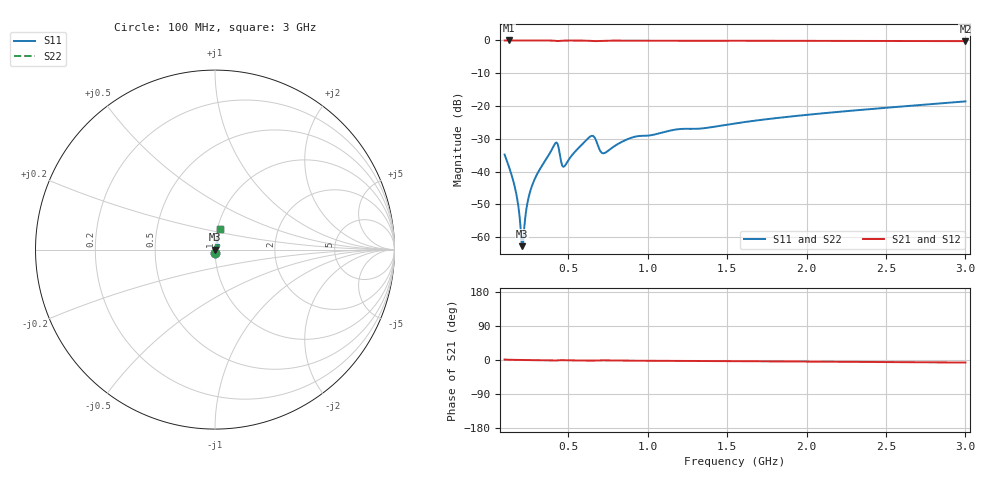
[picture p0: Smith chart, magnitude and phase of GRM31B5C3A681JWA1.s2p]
!Murata Part Number: GRM31B5C3A681JWA1
!These Parameters are Measured in Series Mode Connection
!Data Generated on Mar 30, 2021
!  o--ll--o
!Port1  Port2
!  o------o
!Operation Temp=25[degC], DC Bias Voltage=0[V]
!Freq. Start=100[MHz] Stop=3[GHz] 401[Steps]
# Hz S RI R 50
!Freq.(Hz) S11(Real) S11(Imag) S21(Real) S21(Imag) S12(Real) S12(Imag) S22(Real) S22(Imag)
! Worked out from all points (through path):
!   401 points, 100 MHz to 3 GHz, reference 50 ohm
!   highest |S21| = 0.00 dB at 129 MHz (marker M1); lowest = -0.2 dB at 3 GHz (marker M2)
!   lowest |S11| = -62.7 dB at 208.8 MHz (marker M3), VSWR 1.00, Z = 50.1 - j0.0362 ohm
!   |S11| at or under -10 dB: start of sweep to end of sweep
!   |S22| runs from -62.7 to -18.6 dB; largest |S21 - S12| = 0
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1e8  0.000685 -0.0182  0.9993 0.0182  0.9993 0.0182  0.000685 -0.0182
1.29e8  0.000554 -0.0115  0.9994 0.0115  0.9994 0.0115  0.000554 -0.0115
1.725e8  0.00055 -0.00468  0.9995 0.00468  0.9995 0.00468  0.00055 -0.00468
2.015e8  0.000612 -0.00116  0.9994 0.00116  0.9994 0.00116  0.000612 -0.00116
2.0875e8  0.000634 -0.000362  0.9994 0.000362  0.9994 0.000362  0.000634 -0.000362
2.2325e8  0.000686 0.00118  0.9993 -0.00118  0.9993 -0.00118  0.000686 0.00118
2.45e8  0.000785 0.00337  0.9992 -0.00337  0.9992 -0.00337  0.000785 0.00337
2.74e8  0.000965 0.00616  0.999 -0.00616  0.999 -0.00616  0.000965 0.00616
3.1025e8  0.00132 0.00964  0.9987 -0.00964  0.9987 -0.00964  0.00132 0.00964
4.1175e8  0.0102 0.0232  0.9898 -0.0232  0.9898 -0.0232  0.0102 0.0232
4.335e8  0.0205 0.0168  0.9795 -0.0168  0.9795 -0.0168  0.0205 0.0168
4.625e8  0.00957 0.00786  0.9904 -0.00786  0.9904 -0.00786  0.00957 0.00786
4.77e8  0.00635 0.0103  0.9937 -0.0103  0.9937 -0.0103  0.00635 0.0103
5.8575e8  0.00601 0.025  0.994 -0.025  0.994 -0.025  0.00601 0.025
6.51e8  0.0197 0.0292  0.9803 -0.0292  0.9803 -0.0292  0.0197 0.0292
7.235e8  0.0102 0.016  0.9898 -0.016  0.9898 -0.016  0.0102 0.016
8.975e8  0.00825 0.0318  0.9917 -0.0318  0.9917 -0.0318  0.00825 0.0318
1.0715e9  0.00989 0.037  0.9901 -0.037  0.9901 -0.037  0.00989 0.037
1.55e9  0.0122 0.0529  0.9878 -0.0529  0.9878 -0.0529  0.0122 0.0529
2.03575e9  0.0174 0.0727  0.9826 -0.0727  0.9826 -0.0727  0.0174 0.0727
2.5215e9  0.0233 0.0921  0.9767 -0.0921  0.9767 -0.0921  0.0233 0.0921
3e9  0.0303 0.1137  0.9697 -0.1137  0.9697 -0.1137  0.0303 0.1137
